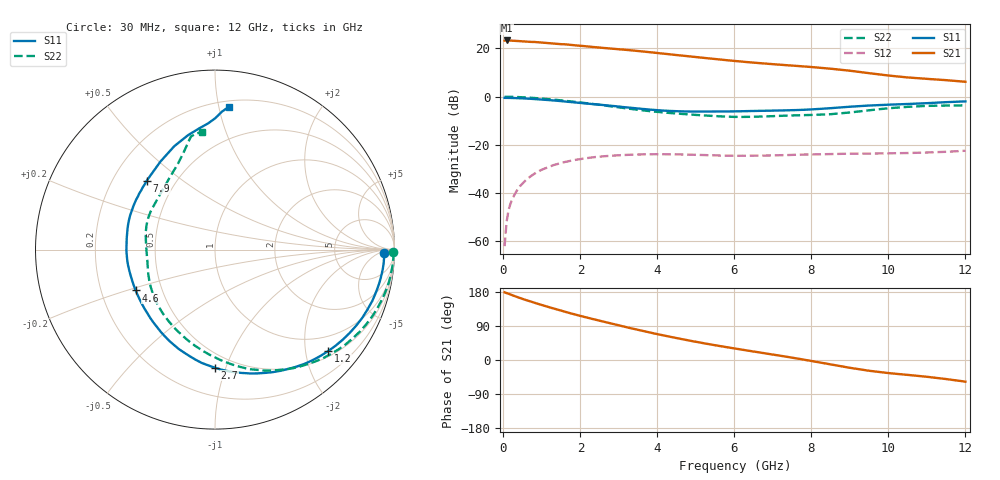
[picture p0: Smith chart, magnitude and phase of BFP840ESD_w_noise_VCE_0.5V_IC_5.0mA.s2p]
! Infineon Technologies  Discrete & RF Semiconductors
! BFP840ESD
! VCE =  0.5 V,  IC =  5.0 mA
! Common Emitter S-Parameters:  May 2012
# GHz  S  MA  R  50
!  f  S11  S21  S12  S22
! GHz  MAG  ANG  MAG  ANG  MAG  ANG  MAG  ANG
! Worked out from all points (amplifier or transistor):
!   93 points, 30 MHz to 12 GHz, reference 50 ohm
!   highest |S21| = 23.3 dB at 80 MHz (marker M1)
!   |S21| within 3 dB of that: start of sweep to 2.535 GHz
!   unconditionally stable (mu >= 1): 6.14 GHz to 11.26 GHz
!   at 1.1 GHz: K = 0.18, MSG = 25.9 dB, |S12| = -29.6 dB
!   at 4.2 GHz: K = 0.61, MSG = 20.8 dB, |S12| = -23.8 dB
!   at 12 GHz: K = 0.86, MSG = 14.3 dB, |S12| = -22.4 dB
!   lowest NFmin = 0.60 dB at 450 MHz
!   S11 on the Smith chart (normalised r, x): 30 MHz: 31, -10; 1.2 GHz: 0.62, -2.48; 2.7 GHz: 0.40, -0.92; 4.6 GHz: 0.35, -0.21; 7.9 GHz: 0.35, +0.37; 12 GHz: 0.24, +1.07
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0.03  0.9437 -1.1  14.48 178.6  0.0008 84.4  0.9927 -0.8
0.08  0.943 -2.9  14.6 176.6  0.0025 92.8  0.9947 -2.6
0.23  0.9385 -8.4  14.42 171.0  0.0076 81.5  0.9896 -7.8
0.43  0.9266 -15.4  14.12 163.6  0.014 78.2  0.9769 -14.5
0.6  0.9129 -21.4  13.81 157.7  0.0193 73.2  0.9614 -20.1
0.9  0.8823 -31.8  13.4 148.1  0.0281 65.0  0.9263 -29.7
1.2  0.8469 -41.9  12.79 138.9  0.0356 57.7  0.8843 -39.0
1.6  0.7939 -55.3  12.15 127.3  0.0444 48.9  0.8209 -51.0
2.1  0.7286 -71.2  11.14 113.7  0.0526 38.6  0.7407 -65.4
2.7  0.6578 -90.1  10.07 98.8  0.059 27.9  0.6451 -81.9
3.1  0.6101 -103.4  9.468 88.9  0.0618 21.6  0.5858 -93.1
3.4  0.5787 -113.2  8.977 81.8  0.0631 17.4  0.5465 -101.9
4.1  0.5177 -136.6  7.87 66.1  0.0643 8.8  0.4756 -122.8
4.6  0.4968 -152.7  7.14 55.8  0.0636 4.1  0.4412 -137.0
5.3  0.4925 -172.5  6.251 42.5  0.0614 -0.8  0.405 -154.7
6.1  0.4974 170.0  5.408 28.9  0.0596 -2.6  0.3814 -173.6
6.9  0.5119 154.9  4.777 15.9  0.0605 -4.0  0.393 169.2
7.9  0.5398 134.8  4.172 -0.9  0.0635 -6.7  0.4164 149.4
8.5  0.5774 121.7  3.795 -11.6  0.0647 -9.0  0.4334 135.2
9.5  0.6552 103.2  3.066 -28.4  0.0662 -13.0  0.5221 113.2
10.5  0.705 93.0  2.502 -39.3  0.068 -15.5  0.6152 104.1
12  0.7982 84.5  2.036 -57.1  0.0758 -18.7  0.6603 96.2
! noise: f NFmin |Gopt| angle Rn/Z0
0.45  0.6  0.49  2  0.2
0.9  0.6  0.49  5  0.19
1.5  0.64  0.48  14  0.17
1.9  0.67  0.46  18  0.16
2.4  0.68  0.41  30  0.15
3.5  0.72  0.3  57  0.12
5.5  0.84  0.21  119  0.1
8  1.02  0.35  -145  0.07
10  1.19  0.5  -102  0.16
12  1.42  0.59  -79  0.26
